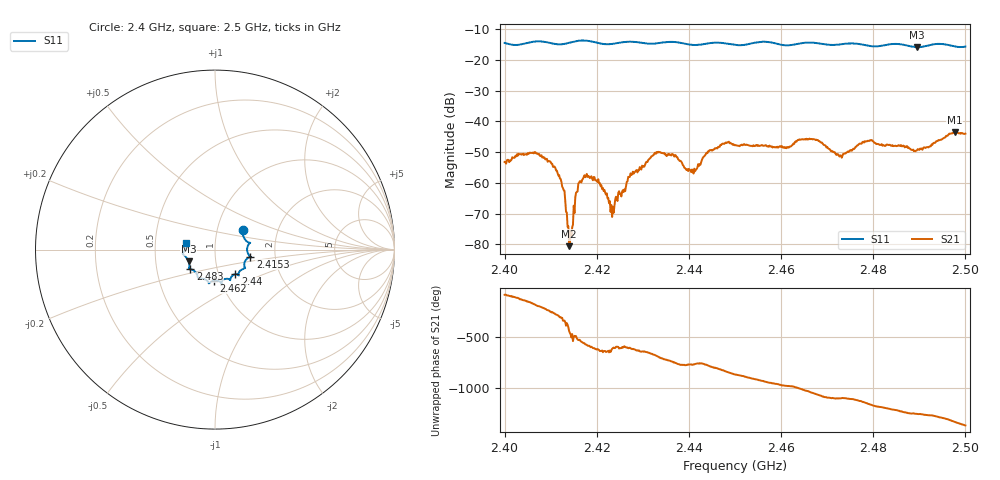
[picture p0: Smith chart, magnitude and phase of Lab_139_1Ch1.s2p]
# Hz S RI R 50
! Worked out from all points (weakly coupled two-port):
!   601 points, 2.4 GHz to 2.5 GHz, reference 50 ohm
!   highest |S21| = -43.53 dB at 2.4977 GHz (marker M1); lowest = -80.6 dB at 2.414 GHz (marker M2)
!   lowest |S11| = -15.9 dB at 2.4895 GHz (marker M3), VSWR 1.38, Z = 36.9 - j5 ohm
!   |S11| at or under -10 dB: start of sweep to end of sweep
!   S12 and S22 are empty: the file has one direction only
!   S11 on the Smith chart (normalised r, x): 2.4 GHz: 1.33, +0.29; 2.4153 GHz: 1.48, -0.12; 2.44 GHz: 1.20, -0.34; 2.462 GHz: 0.93, -0.33; 2.483 GHz: 0.74, -0.17; 2.5 GHz: 0.72, +0.06
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2.4e9  0.1551 0.1065  0.000148 -0.00218  0 0  0 0
2.406167e9  0.193 0.0378  -0.0031 -0.000324  0 0  0 0
2.410333e9  0.1838 0.0221  -0.000503 0.00197  0 0  0 0
2.4125e9  0.1794 -0.00785  0.000587 0.000639  0 0  0 0
2.414e9  0.1872 -0.0277  1.19e-05 -9.27e-05  0 0  0 0
2.4145e9  0.1908 -0.0326  -0.000114 -7.94e-05  0 0  0 0
2.415333e9  0.1964 -0.0387  -0.000404 -0.000412  0 0  0 0
2.416667e9  0.2019 -0.0427  -0.00101 0.00012  0 0  0 0
2.419833e9  0.1861 -0.0451  -0.000212 0.00109  0 0  0 0
2.4235e9  0.1627 -0.082  -0.000149 0.000378  0 0  0 0
2.427333e9  0.1681 -0.1027  -0.000457 0.00135  0 0  0 0
2.433333e9  0.131 -0.1335  0.00288 0.00139  0 0  0 0
2.44e9  0.1139 -0.1367  0.00112 -0.00126  0 0  0 0
2.45e9  0.0647 -0.1626  -0.00346 -0.00215  0 0  0 0
2.462e9  -0.00515 -0.1733  -0.000436 0.00387  0 0  0 0
2.466667e9  -0.0343 -0.1876  0.00429 0.00289  0 0  0 0
2.472833e9  -0.0787 -0.1602  0.00259 -0.00105  0 0  0 0
2.483e9  -0.1377 -0.1096  -0.00203 -0.00368  0 0  0 0
2.483333e9  -0.14 -0.1093  -0.00226 -0.00345  0 0  0 0
2.4895e9  -0.1463 -0.0659  -0.00337 -0.000344  0 0  0 0
2.497667e9  -0.1655 0.00127  -0.002 0.00635  0 0  0 0
2.5e9  -0.1597 0.0392  0.00193 0.006  0 0  0 0
